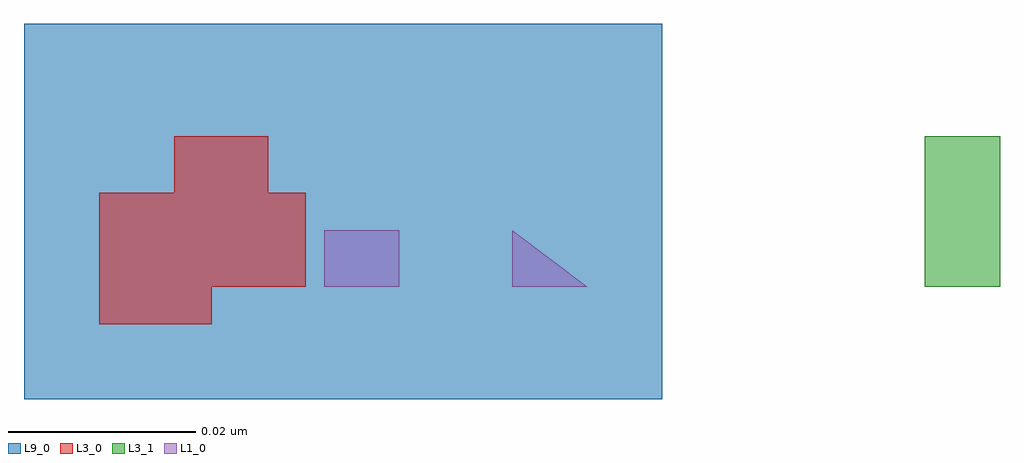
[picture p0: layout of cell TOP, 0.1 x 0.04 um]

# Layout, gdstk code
import gdstk
lib = gdstk.Library(unit=1e-6, precision=2e-09)
def R(c, l, rs):  # rectangles x0, y0, x1, y1
    for r in rs: c.add(gdstk.rectangle(r[:2], r[2:], *l))
def P(c, l, *ps):  # polygons
    for p in ps: c.add(gdstk.Polygon(p, *l))
L1_0 = (1, 0)
L3_0 = (3, 0)
L3_1 = (3, 1)
L9_0 = (9, 0)

top = lib.new_cell('TOP')
P(top, L1_0, [(0.016,0),(0.024,0),(0.024,0.006),(0.024,0.006),(0.016,0.006)],
  [(0.036,0),(0.044,0),(0.036,0.006)])
R(top, L3_0, [(0,0.008,0.01,0.016)])
P(top, L3_0, [(-0.008,-0.004),(-0.008,0.01),(0.014,0.01),(0.014,0),(0.004,0),(0.004,-0.004)])
R(top, L3_1, [(0.08,0,0.088,0.016)])
R(top, L9_0, [(-0.016,-0.012,0.052,0.028)])

lib.write_gds('TOP.gds')
